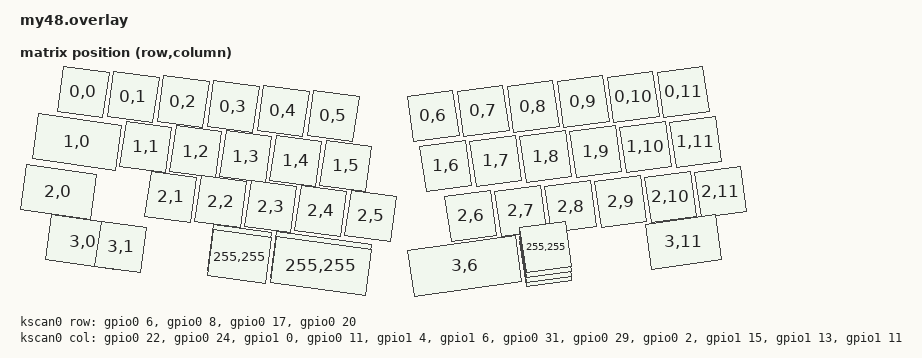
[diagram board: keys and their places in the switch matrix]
#include <dt-bindings/zmk/matrix_transform.h>
#include <dt-bindings/gpio/gpio.h>

/ {
    kscan0: kscan {
        compatible = "zmk,kscan-gpio-matrix";
        wakeup-source;
        diode-direction = "col2row";

        col-gpios =
            <&gpio0 22 GPIO_ACTIVE_HIGH>,
            <&gpio0 24 GPIO_ACTIVE_HIGH>,
            <&gpio1 0 GPIO_ACTIVE_HIGH>,
            <&gpio0 11 GPIO_ACTIVE_HIGH>,
            <&gpio1 4 GPIO_ACTIVE_HIGH>,
            <&gpio1 6 GPIO_ACTIVE_HIGH>,
            <&gpio0 31 GPIO_ACTIVE_HIGH>,
            <&gpio0 29 GPIO_ACTIVE_HIGH>,
            <&gpio0 2 GPIO_ACTIVE_HIGH>,
            <&gpio1 15 GPIO_ACTIVE_HIGH>,
            <&gpio1 13 GPIO_ACTIVE_HIGH>,
            <&gpio1 11 GPIO_ACTIVE_HIGH>;

        row-gpios =
            <&gpio0 6 (GPIO_ACTIVE_HIGH | GPIO_PULL_DOWN)>,
            <&gpio0 8 (GPIO_ACTIVE_HIGH | GPIO_PULL_DOWN)>,
            <&gpio0 17 (GPIO_ACTIVE_HIGH | GPIO_PULL_DOWN)>,
            <&gpio0 20 (GPIO_ACTIVE_HIGH | GPIO_PULL_DOWN)>;

        debounce-press-ms = <5>;
        debounce-release-ms = <5>;
    };

    default_transform: matrix_transform {
        compatible = "zmk,matrix-transform";
        rows = <4>;
        columns = <12>;
        map = <
            RC(0,0) RC(0,1) RC(0,2) RC(0,3) RC(0,4) RC(0,5) RC(0,6) RC(0,7) RC(0,8) RC(0,9) RC(0,10) RC(0,11)
            RC(1,0) RC(1,1) RC(1,2) RC(1,3) RC(1,4) RC(1,5) RC(1,6) RC(1,7) RC(1,8) RC(1,9) RC(1,10) RC(1,11)
            RC(2,0) RC(2,1) RC(2,2) RC(2,3) RC(2,4) RC(2,5) RC(2,6) RC(2,7) RC(2,8) RC(2,9) RC(2,10) RC(2,11)
            RC(3,0) RC(3,1) RC(3,2) RC(255,255) RC(3,4) RC(255,255) RC(3,6) RC(3,7) RC(255,255) RC(255,255) RC(255,255) RC(3,11)
        >;
    };

    key_physical_attrs: key_physical_attrs {
        compatible = "zmk,key-physical-attrs";
        #key-cells = <7>;
    };

    physical_layout: physical_layout {
        compatible = "zmk,physical-layout";
        display-name = "Batoid 43 (Alice 8deg)";
        transform = <&default_transform>;
        kscan = <&kscan0>;
        keys  //                       w    h    x    y    rot   rx   ry
      = <&key_physical_attrs  100  100   125    0    800   175   50> // 0,0
      , <&key_physical_attrs  100  100   225   10    800   275   60> // 0,1
      , <&key_physical_attrs  100  100   325   19    800   375   69> // 0,2
      , <&key_physical_attrs  100  100   425   29    800   475   79> // 0,3
      , <&key_physical_attrs  100  100   525   38    800   575   88> // 0,4
      , <&key_physical_attrs  100  100   625   48    800   675   98> // 0,5
      , <&key_physical_attrs  100  100   825   48 (-800)   875   98> // 0,6
      , <&key_physical_attrs  100  100   925   38 (-800)   975   88> // 0,7
      , <&key_physical_attrs  100  100  1025   29 (-800)  1075   79> // 0,8
      , <&key_physical_attrs  100  100  1125   19 (-800)  1175   69> // 0,9
      , <&key_physical_attrs  100  100  1225   10 (-800)  1275   60> // 0,10
      , <&key_physical_attrs  100  100  1325    0 (-800)  1375   50> // 0,11
      , <&key_physical_attrs  175  100    75  100    800   162  150> // 1,0
      , <&key_physical_attrs  100  100   250  110    800   300  160> // 1,1
      , <&key_physical_attrs  100  100   350  119    800   400  169> // 1,2
      , <&key_physical_attrs  100  100   450  129    800   500  179> // 1,3
      , <&key_physical_attrs  100  100   550  138    800   600  188> // 1,4
      , <&key_physical_attrs  100  100   650  148    800   700  198> // 1,5
      , <&key_physical_attrs  100  100   850  148 (-800)   900  198> // 1,6
      , <&key_physical_attrs  100  100   950  138 (-800)  1000  188> // 1,7
      , <&key_physical_attrs  100  100  1050  129 (-800)  1100  179> // 1,8
      , <&key_physical_attrs  100  100  1150  119 (-800)  1200  169> // 1,9
      , <&key_physical_attrs  100  100  1250  110 (-800)  1300  160> // 1,10
      , <&key_physical_attrs  100  100  1350  100 (-800)  1400  150> // 1,11
      , <&key_physical_attrs  150  100    50  200    800   125  250> // 2,0
      , <&key_physical_attrs  100  100   300  210    800   350  260> // 2,1
      , <&key_physical_attrs  100  100   400  219    800   450  269> // 2,2
      , <&key_physical_attrs  100  100   500  229    800   550  279> // 2,3
      , <&key_physical_attrs  100  100   600  238    800   650  288> // 2,4
      , <&key_physical_attrs  100  100   700  248    800   750  298> // 2,5
      , <&key_physical_attrs  100  100   900  248 (-800)   950  298> // 2,6
      , <&key_physical_attrs  100  100  1000  238 (-800)  1050  288> // 2,7
      , <&key_physical_attrs  100  100  1100  229 (-800)  1150  279> // 2,8
      , <&key_physical_attrs  100  100  1200  219 (-800)  1250  269> // 2,9
      , <&key_physical_attrs  100  100  1300  210 (-800)  1350  260> // 2,10
      , <&key_physical_attrs  100  100  1400  200 (-800)  1450  250> // 2,11
      , <&key_physical_attrs  150  100   100  300    800   175  350> // 3,0
      , <&key_physical_attrs  100  100   200  310    800   250  360> // 3,1
      , <&key_physical_attrs  125  100   425  319    800   487  369> // 3,2
      , <&key_physical_attrs  125  100   425  329    800   487  379> // 3,3 ghost
      , <&key_physical_attrs  200  100   550  338    800   650  388> // 3,4
      , <&key_physical_attrs  200  100   550  348    800   650  398> // 3,5 ghost
      , <&key_physical_attrs  225  100   825  348 (-800)   937  398> // 3,6
      , <&key_physical_attrs  100  100  1050  338 (-800)  1100  388> // 3,7
      , <&key_physical_attrs  100  100  1050  329 (-800)  1100  379> // 3,8 ghost
      , <&key_physical_attrs  100  100  1050  319 (-800)  1100  369> // 3,9 ghost
      , <&key_physical_attrs  100  100  1050  310 (-800)  1100  360> // 3,10 ghost
      , <&key_physical_attrs  150  100  1300  300 (-800)  1375  350> // 3,11
        ;
    };

    caps_leds: caps_lock_gpio {
        compatible = "gpio-leds";
        caps_lock_led: caps_led {
            gpios = <&gpio0 10 GPIO_ACTIVE_LOW>;
        };
    };

    bt_leds: bt_status_gpio {
        compatible = "gpio-leds";
        bt_status_led: bt_led {
            gpios = <&gpio0 9 GPIO_ACTIVE_LOW>;
        };
    };

    chosen {
        zmk,physical-layout = &physical_layout;
    };
};
